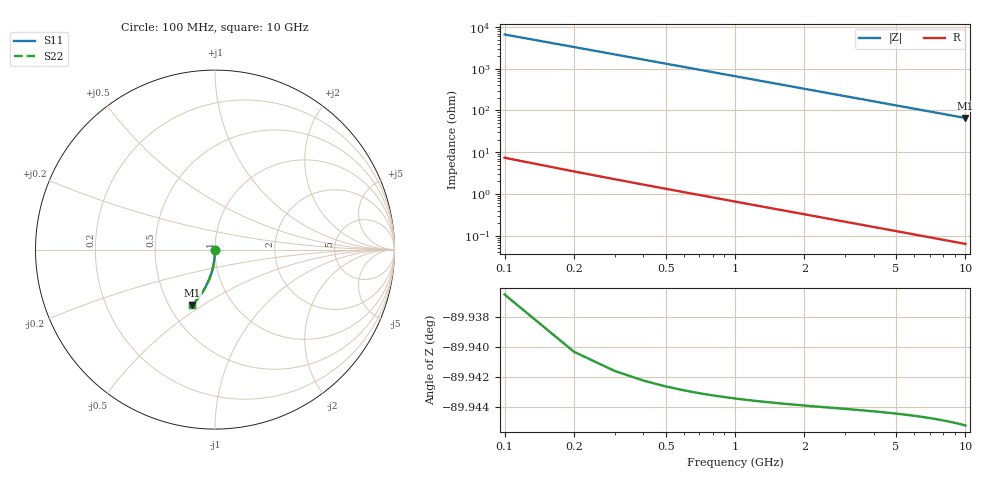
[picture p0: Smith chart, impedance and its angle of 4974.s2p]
# Hz S RI R 50.00
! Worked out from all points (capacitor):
!   100 points, 100 MHz to 10 GHz, reference 50 ohm
!   read as one part in shunt: C = 240 fF near 100 MHz
!   lowest |Z| = 66.2 ohm at 10 GHz (marker M1)
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1e8  4.4e-05 -0.00352  0.9999 -0.00401  0.9999 -0.00401  4.4e-05 -0.00352
2e8  -1.58e-06 -0.00704  0.9999 -0.00801  0.9999 -0.00801  -1.58e-06 -0.00704
3e8  -7.54e-05 -0.0106  0.9998 -0.012  0.9998 -0.012  -7.54e-05 -0.0106
4e8  -0.000178 -0.0141  0.9997 -0.016  0.9997 -0.016  -0.000178 -0.0141
5e8  -0.000308 -0.0176  0.9996 -0.02  0.9996 -0.02  -0.000308 -0.0176
6e8  -0.000466 -0.0211  0.9994 -0.024  0.9994 -0.024  -0.000466 -0.0211
7e8  -0.000653 -0.0246  0.9992 -0.028  0.9992 -0.028  -0.000653 -0.0246
8e8  -0.000868 -0.0281  0.999 -0.032  0.999 -0.032  -0.000868 -0.0281
9e8  -0.00111 -0.0317  0.9988 -0.036  0.9988 -0.036  -0.00111 -0.0317
1.1e9  -0.00168 -0.0387  0.9982 -0.044  0.9982 -0.044  -0.00168 -0.0387
1.4e9  -0.00275 -0.0492  0.9971 -0.056  0.9971 -0.056  -0.00275 -0.0492
1.8e9  -0.00456 -0.0631  0.9953 -0.0719  0.9953 -0.0719  -0.00456 -0.0631
2.1e9  -0.00621 -0.0735  0.9936 -0.0837  0.9936 -0.0837  -0.00621 -0.0735
2.5e9  -0.00879 -0.0873  0.991 -0.0995  0.991 -0.0995  -0.00879 -0.0873
2.9e9  -0.0118 -0.101  0.988 -0.1151  0.988 -0.1151  -0.0118 -0.101
3.4e9  -0.0162 -0.118  0.9835 -0.1345  0.9835 -0.1345  -0.0162 -0.118
4.2e9  -0.0245 -0.1445  0.9751 -0.165  0.9751 -0.165  -0.0245 -0.1445
5.1e9  -0.0359 -0.1735  0.9637 -0.1985  0.9637 -0.1985  -0.0359 -0.1735
5.9e9  -0.0475 -0.1984  0.9519 -0.2273  0.9519 -0.2273  -0.0475 -0.1984
6.7e9  -0.0606 -0.2222  0.9388 -0.2551  0.9388 -0.2551  -0.0606 -0.2222
8.4e9  -0.0924 -0.2691  0.9066 -0.3105  0.9066 -0.3105  -0.0924 -0.2691
1e10  -0.1266 -0.308  0.8721 -0.3575  0.8721 -0.3575  -0.1266 -0.308
